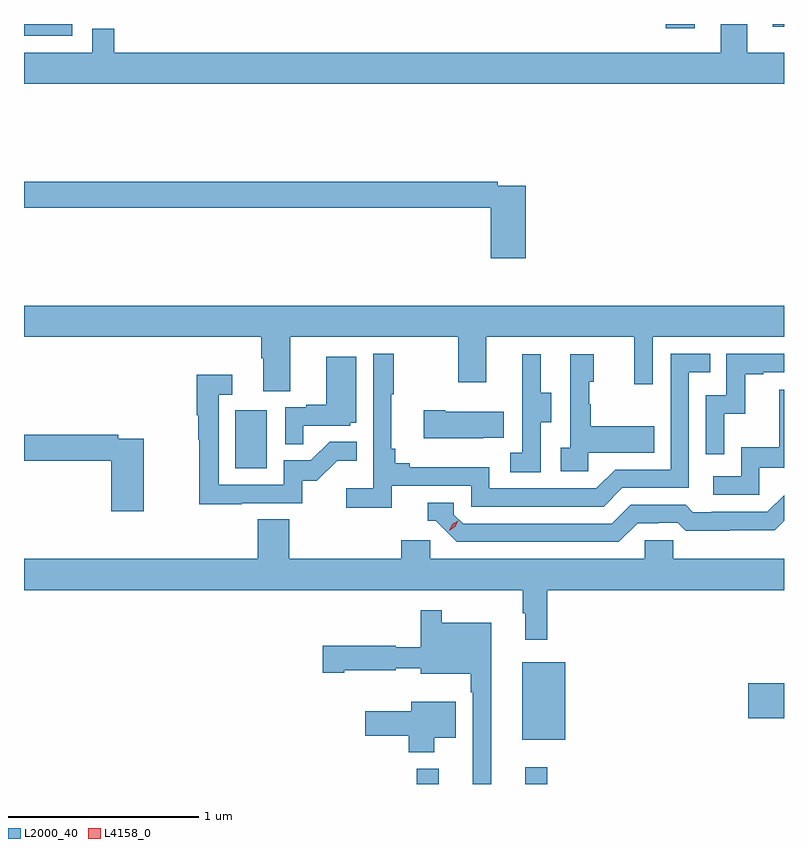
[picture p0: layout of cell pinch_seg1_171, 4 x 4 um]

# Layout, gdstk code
import gdstk
lib = gdstk.Library(unit=1e-6, precision=1e-09)
def R(c, l, rs):  # rectangles x0, y0, x1, y1
    for r in rs: c.add(gdstk.rectangle(r[:2], r[2:], *l))
def P(c, l, *ps):  # polygons
    for p in ps: c.add(gdstk.Polygon(p, *l))
L2000_40 = (2000, 40)
L4158_0 = (4158, 0)

pinch_seg1_171 = lib.new_cell('pinch_seg1_171')
R(pinch_seg1_171, L2000_40, [(1115.545,553.375,1115.663,553.456), (1116.116,553.375,1116.233,553.462), (1116.101,553.607,1116.328,554.017), (1117.29,553.721,1117.479,553.904), (1114.592,555.036,1114.756,555.343), (1113.479,557.313,1113.732,557.375), (1116.857,557.352,1117.009,557.375), (1117.421,557.36,1117.479,557.375)])
P(pinch_seg1_171, L2000_40, [(1117.479,557.224),(1117.285,557.224),(1117.285,557.375),(1117.145,557.375),(1117.145,557.224),(1113.953,557.224),(1113.953,557.351),(1113.837,557.351),(1113.837,557.224),(1113.479,557.224),(1113.479,557.06),(1117.479,557.06)],
  [(1116.119,556.524),(1115.972,556.524),(1115.972,556.544),(1113.479,556.544),(1113.479,556.408),(1115.936,556.408),(1115.936,556.143),(1116.119,556.143)],
  [(1114.879,555.728),(1115.764,555.728),(1115.764,555.489),(1115.911,555.489),(1115.911,555.728),(1116.692,555.728),(1116.692,555.48),(1116.789,555.48),(1116.789,555.728),(1117.479,555.728),(1117.479,555.892),(1113.479,555.892),(1113.479,555.728),(1114.727,555.728),(1114.727,555.616),(1114.739,555.616),(1114.739,555.442),(1114.879,555.442)],
  [(1115.414,554.946),(1115.832,554.946),(1115.832,554.835),(1116.529,554.835),(1116.628,554.934),(1116.978,554.934),(1116.978,555.543),(1117.091,555.543),(1117.091,555.639),(1116.882,555.639),(1116.882,555.03),(1116.591,555.03),(1116.492,554.931),(1115.928,554.931),(1115.928,555.043),(1115.509,555.043),(1115.509,555.062),(1115.432,555.062),(1115.432,555.139),(1115.413,555.139),(1115.413,555.427),(1115.425,555.427),(1115.425,555.64),(1115.316,555.64),(1115.316,554.932),(1115.175,554.932),(1115.175,554.83),(1115.414,554.83)],
  [(1117.164,555.323),(1117.274,555.323),(1117.274,555.531),(1117.369,555.531),(1117.369,555.543),(1117.479,555.543),(1117.479,555.639),(1117.176,555.639),(1117.176,555.42),(1117.068,555.42),(1117.068,555.111),(1117.164,555.111)],
  [(1116.45,555.119),(1116.797,555.119),(1116.797,555.259),(1116.463,555.259),(1116.463,555.374),(1116.453,555.374),(1116.453,555.492),(1116.478,555.492),(1116.478,555.637),(1116.354,555.637),(1116.354,555.146),(1116.303,555.146),(1116.303,555.021),(1116.45,555.021)],
  [(1116.198,555.28),(1116.253,555.28),(1116.253,555.435),(1116.199,555.435),(1116.199,555.637),(1116.101,555.637),(1116.101,555.423),(1116.102,555.423),(1116.102,555.119),(1116.039,555.119),(1116.039,555.016),(1116.198,555.016)],
  [(1114.949,555.261),(1115.196,555.261),(1115.196,555.276),(1115.227,555.276),(1115.227,555.625),(1115.069,555.625),(1115.069,555.37),(1114.965,555.37),(1114.965,555.357),(1114.854,555.357),(1114.854,555.163),(1114.949,555.163)],
  [(1114.625,554.853),(1114.944,554.853),(1114.944,554.97),(1115.02,554.97),(1115.127,555.077),(1115.231,555.077),(1115.231,555.176),(1115.087,555.176),(1114.989,555.078),(1114.845,555.078),(1114.845,554.949),(1114.503,554.949),(1114.503,555.423),(1114.576,555.423),(1114.576,555.529),(1114.387,555.529),(1114.387,555.316),(1114.395,555.316),(1114.395,555.186),(1114.402,555.186),(1114.402,554.848),(1114.625,554.848)],
  [(1117.35,555.039),(1117.479,555.039),(1117.479,555.451),(1117.453,555.451),(1117.453,555.148),(1117.254,555.148),(1117.254,554.994),(1117.107,554.994),(1117.107,554.898),(1117.35,554.898)],
  [(1115.897,555.197),(1116.005,555.197),(1116.005,555.334),(1115.695,555.334),(1115.695,555.342),(1115.583,555.342),(1115.583,555.194),(1115.897,555.194)],
  [(1114.108,555.192),(1113.974,555.192),(1113.974,555.212),(1113.479,555.212),(1113.479,555.076),(1113.938,555.076),(1113.938,554.811),(1114.108,554.811)],
  [(1116.709,554.748),(1116.816,554.748),(1116.816,554.751),(1116.919,554.751),(1116.961,554.709),(1117.194,554.709),(1117.194,554.711),(1117.43,554.711),(1117.479,554.76),(1117.479,554.895),(1117.392,554.808),(1117.099,554.808),(1117.099,554.805),(1117,554.805),(1116.961,554.844),(1116.672,554.844),(1116.573,554.745),(1115.79,554.745),(1115.742,554.793),(1115.742,554.856),(1115.603,554.856),(1115.603,554.76),(1115.646,554.76),(1115.757,554.649),(1116.61,554.649)],
  [(1116.233,554.396),(1117.479,554.396),(1117.479,554.56),(1116.897,554.56),(1116.897,554.658),(1116.747,554.658),(1116.747,554.56),(1115.616,554.56),(1115.616,554.658),(1115.465,554.658),(1115.465,554.56),(1114.874,554.56),(1114.874,554.768),(1114.709,554.768),(1114.709,554.56),(1113.479,554.56),(1113.479,554.396),(1116.105,554.396),(1116.105,554.273),(1116.116,554.273),(1116.116,554.133),(1116.233,554.133)],
  [(1115.938,554.224),(1115.677,554.224),(1115.677,554.29),(1115.567,554.29),(1115.567,554.095),(1115.436,554.095),(1115.436,554.103),(1115.052,554.103),(1115.052,553.961),(1115.164,553.961),(1115.164,553.973),(1115.436,553.973),(1115.436,553.985),(1115.567,553.985),(1115.567,553.955),(1115.829,553.955),(1115.829,553.859),(1115.841,553.859),(1115.841,553.375),(1115.938,553.375)],
  [(1115.638,553.619),(1115.752,553.619),(1115.752,553.807),(1115.516,553.807),(1115.516,553.759),(1115.274,553.759),(1115.274,553.63),(1115.504,553.63),(1115.504,553.541),(1115.638,553.541)])
P(pinch_seg1_171, L4158_0, [(1115.716,554.708),(1115.716,554.709),(1115.733,554.742),(1115.764,554.761),(1115.764,554.761),(1115.764,554.761),(1115.748,554.728),(1115.717,554.708)])

lib.write_gds('pinch_seg1_171.gds')
